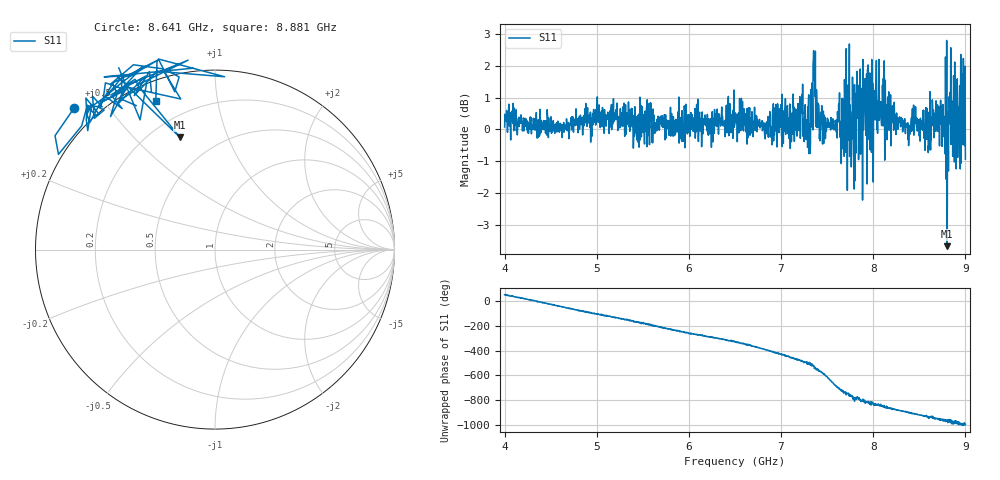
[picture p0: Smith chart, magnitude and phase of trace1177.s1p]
! Created with skrf 1.8.0 (http://scikit-rf.org).
# Hz S RI R 50.0
!freq ReS11 ImS11
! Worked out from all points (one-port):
!   1601 points, 4 GHz to 9 GHz, reference 50 ohm
!   lowest |S11| = -3.7 dB at 8.803 GHz (marker M1), VSWR 4.80, Z = 15.7 + j34.4 ohm
!   |S11| at or under -10 dB: nowhere
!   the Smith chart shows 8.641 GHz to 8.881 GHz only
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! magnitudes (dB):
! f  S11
! 4 GHz  0.1
! 4.625 GHz  -0.3
! 4.981 GHz  0.5
! 5.25 GHz  0.1
! 5.875 GHz  0.0
! 6.5 GHz  0.5
! 7.125 GHz  0.1
! 7.209 GHz  -0.3
! 7.294 GHz  0.4
! 7.319 GHz  -0.4
! 7.347 GHz  2.1
! 7.372 GHz  2.5
! 7.4 GHz  0.7
! 7.441 GHz  0.8
! 7.75 GHz  -0.5
! 7.775 GHz  1.6
! 7.844 GHz  0.9
! 7.941 GHz  1.8
! 7.962 GHz  1.8
! 7.981 GHz  -0.7
! 8.038 GHz  1.0
! 8.375 GHz  0.2
! 8.441 GHz  -0.2
! 8.603 GHz  -0.6
! 8.656 GHz  0.2
! 8.803 GHz  -3.7
! 8.972 GHz  0.8
! 9 GHz  -0.9
